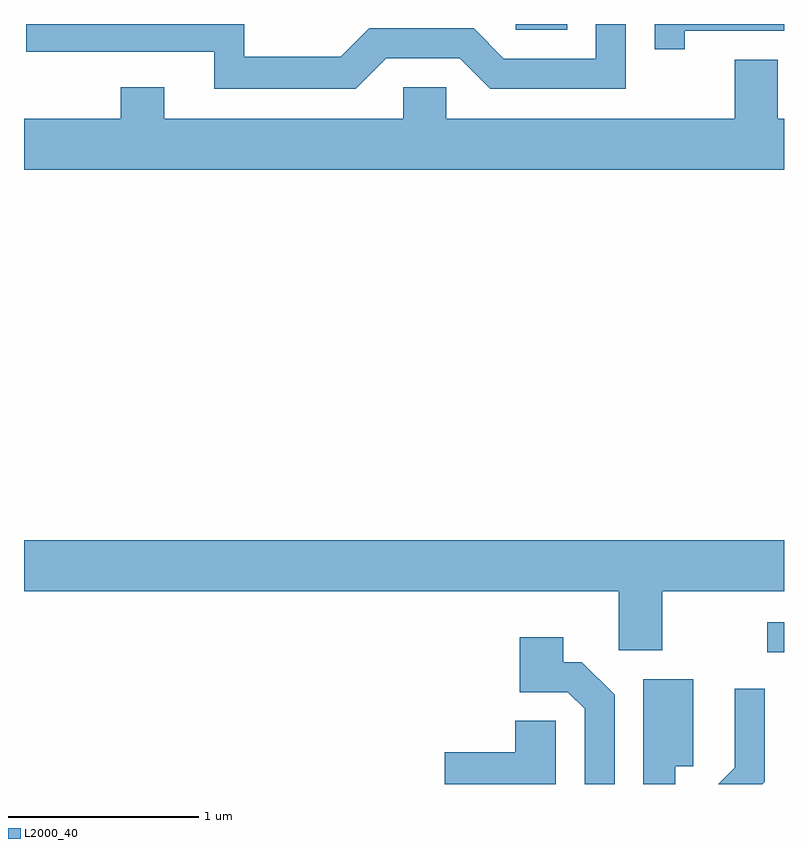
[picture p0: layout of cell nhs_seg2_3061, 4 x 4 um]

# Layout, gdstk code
import gdstk
lib = gdstk.Library(unit=1e-6, precision=1e-09)
def R(c, l, rs):  # rectangles x0, y0, x1, y1
    for r in rs: c.add(gdstk.rectangle(r[:2], r[2:], *l))
def P(c, l, *ps):  # polygons
    for p in ps: c.add(gdstk.Polygon(p, *l))
L2000_40 = (2000, 40)

nhs_seg2_3061 = lib.new_cell('nhs_seg2_3061')
R(nhs_seg2_3061, L2000_40, [(279.523,992.496,279.611,992.654), (278.198,995.771,278.469,995.802)])
P(nhs_seg2_3061, L2000_40, [(277.517,995.621),(277.904,995.621),(278.064,995.461),(278.779,995.461),(278.779,995.802),(278.621,995.802),(278.621,995.619),(278.137,995.619),(277.977,995.779),(277.429,995.779),(277.279,995.629),(276.769,995.629),(276.769,995.802),(275.623,995.802),(275.623,995.656),(276.611,995.656),(276.611,995.461),(277.357,995.461)],
  [(279.089,995.766),(279.611,995.766),(279.611,995.802),(278.931,995.802),(278.931,995.668),(279.089,995.668)],
  [(279.611,995.304),(279.579,995.304),(279.579,995.614),(279.351,995.614),(279.351,995.304),(277.834,995.304),(277.834,995.469),(277.606,995.469),(277.606,995.304),(276.349,995.304),(276.349,995.469),(276.121,995.469),(276.121,995.304),(275.611,995.304),(275.611,995.036),(279.611,995.036)],
  [(278.969,992.816),(279.611,992.816),(279.611,993.084),(275.611,993.084),(275.611,992.816),(278.741,992.816),(278.741,992.506),(278.969,992.506)],
  [(278.719,992.272),(278.547,992.444),(278.449,992.444),(278.449,992.574),(278.221,992.574),(278.221,992.286),(278.474,992.286),(278.561,992.199),(278.561,991.802),(278.719,991.802)],
  [(279.039,991.896),(279.134,991.896),(279.134,992.354),(278.871,992.354),(278.871,991.802),(279.039,991.802)],
  [(279.509,991.814),(279.509,992.303),(279.351,992.303),(279.351,991.887),(279.266,991.802),(279.497,991.802)],
  [(278.409,992.134),(278.196,992.134),(278.196,991.969),(277.826,991.969),(277.826,991.802),(278.409,991.802)])

lib.write_gds('nhs_seg2_3061.gds')
